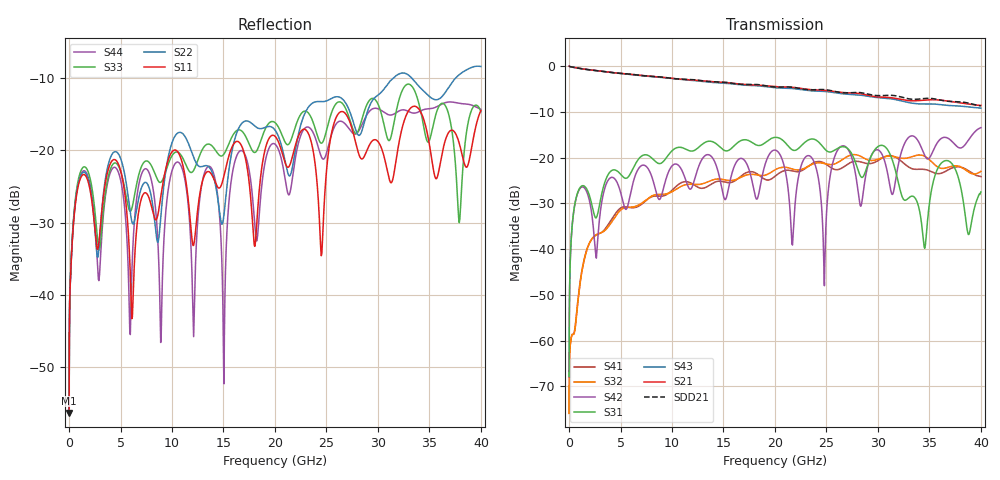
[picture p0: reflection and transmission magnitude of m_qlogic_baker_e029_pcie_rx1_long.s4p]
! freq	real(S11)	imag(S11)	real(S12)	imag(S12)	real(S13)	imag(S13)
!  real(S14)	imag(S14)
!  real(S21)	imag(S21)	real(S22)	imag(S22)	real(S23)	imag(S23)
!  real(S24)	imag(S24)
!  real(S31)	imag(S31)	real(S32)	imag(S32)	real(S33)	imag(S33)
!  real(S34)	imag(S34)
!  real(S41)	imag(S41)	real(S42)	imag(S42)	real(S43)	imag(S43)
!  real(S44)	imag(S44)
!port1: p1  port2: p2  port3: p3  port4: p4
#  MHz  S  RI  R 50
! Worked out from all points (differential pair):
!   8000 points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, 5 MHz to 40 GHz, reference 50 ohm
!   strongest paths, dB at 5 MHz, 10.01 GHz, 20 GHz, 30 GHz, 40 GHz:
!     S21: 0.0, -2.7, -4.5, -6.7, -8.6
!     S43: 0.0, -2.7, -4.7, -6.9, -9.2
!     S31: -67.9, -18.5, -15.6, -17.6, -27.5
!     S42: -67.9, -21.8, -18.4, -18.3, -13.5
!     S32: -75.9, -27.5, -22.7, -20.3, -23.0
!     S41: -75.9, -27.1, -24.1, -20.7, -24.1
!   taken as a pair (ports 1,3 in; 2,4 out), SDD21 dB: 0.0, -2.7, -4.6, -6.5, -8.7
!   lowest |S11| = -56.3 dB at 5 MHz (marker M1), VSWR 1.00, Z = 50.2 + j0.00356 ohm
!   |S11| at or under -10 dB: start of sweep to end of sweep
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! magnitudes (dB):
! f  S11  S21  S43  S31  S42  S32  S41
! 5 MHz  -56.3  0.0  0.0  -67.9  -67.9  -75.9  -75.9
! 880 MHz  -25.0  -0.4  -0.4  -27.4  -27.5  -51.2  -50.8
! 5.085 GHz  -23.3  -1.6  -1.6  -23.8  -28.3  -31.3  -30.9
! 15.03 GHz  -23.6  -3.5  -3.7  -18.4  -28.7  -24.8  -25.3
! 16.57 GHz  -19.0  -3.9  -4.1  -16.4  -20.2  -24.4  -24.3
! 24.79 GHz  -27.2  -5.3  -5.5  -18.0  -47.2  -21.3  -21.2
! 40 GHz  -14.5  -8.6  -9.2  -27.5  -13.5  -23.0  -24.1
